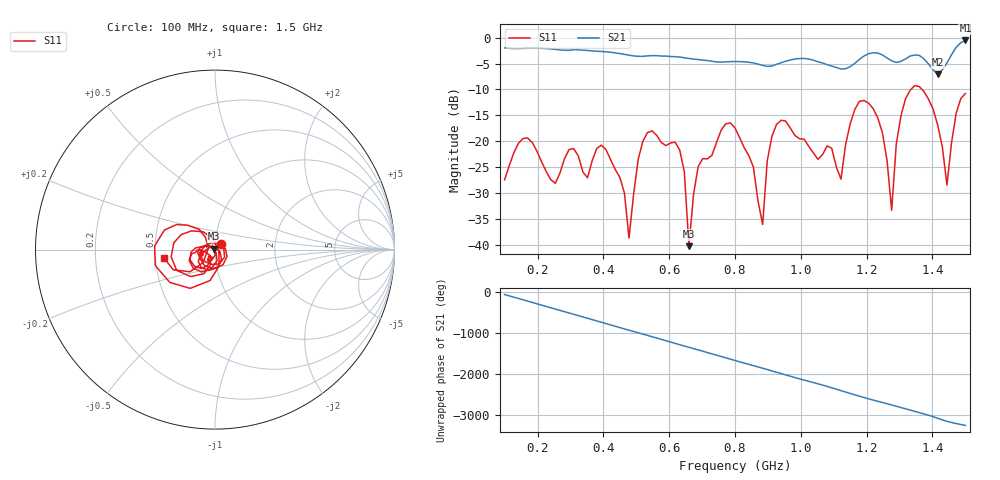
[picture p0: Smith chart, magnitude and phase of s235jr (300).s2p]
! NanoVNA-App
! Date: 2025-09-25 15:06:30
! Start: 100MHz Stop: 1,5GHz Points: 101
! S-Parameter data: F S11 S21 S12 S22
# Hz S RI R 50
!  Frequency  S11_Real  S11_Imag  S21_Real  S21_Imag  S12_Real  S12_Imag  S22_Real  S22_Imag
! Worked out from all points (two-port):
!   101 points, 100 MHz to 1.5 GHz, reference 50 ohm
!   highest |S21| = -0.53 dB at 1.5 GHz (marker M1); lowest = -7.0 dB at 1.416 GHz (marker M2)
!   |S21| within 3 dB of the highest: start of sweep to 494.7 MHz; 1.192 GHz to 1.253 GHz (60.81 MHz wide, 4.97 % of centre) (the widest 2 of 5)
!   lowest |S11| = -40.3 dB at 660 MHz (marker M3), VSWR 1.02, Z = 49.2 + j0.542 ohm
!   |S11| at or under -10 dB: start of sweep to 1.334 GHz; 1.368 GHz to end of sweep
!   S12 and S22 are empty: the file has one direction only
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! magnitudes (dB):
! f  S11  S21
! 100 MHz  -27.5  -2.0
! 170 MHz  -19.4  -2.0
! 338 MHz  -26.0  -2.4
! 408 MHz  -21.6  -2.7
! 478 MHz  -38.7  -3.4
! 520 MHz  -20.0  -3.6
! 576 MHz  -20.2  -3.5
! 632 MHz  -21.7  -3.7
! 660 MHz  -40.3  -4.0
! 688 MHz  -24.9  -4.2
! 800 MHz  -17.4  -4.6
! 884 MHz  -36.1  -5.3
! 926 MHz  -16.8  -5.1
! 1.038 GHz  -22.3  -4.3
! 1.122 GHz  -27.3  -6.0
! 1.206 GHz  -12.7  -3.1
! 1.276 GHz  -33.4  -4.5
! 1.29 GHz  -20.6  -4.8
! 1.332 GHz  -10.1  -3.5
! 1.416 GHz  -16.9  -7.0
! 1.444 GHz  -28.5  -4.9
! 1.5 GHz  -10.8  -0.5
